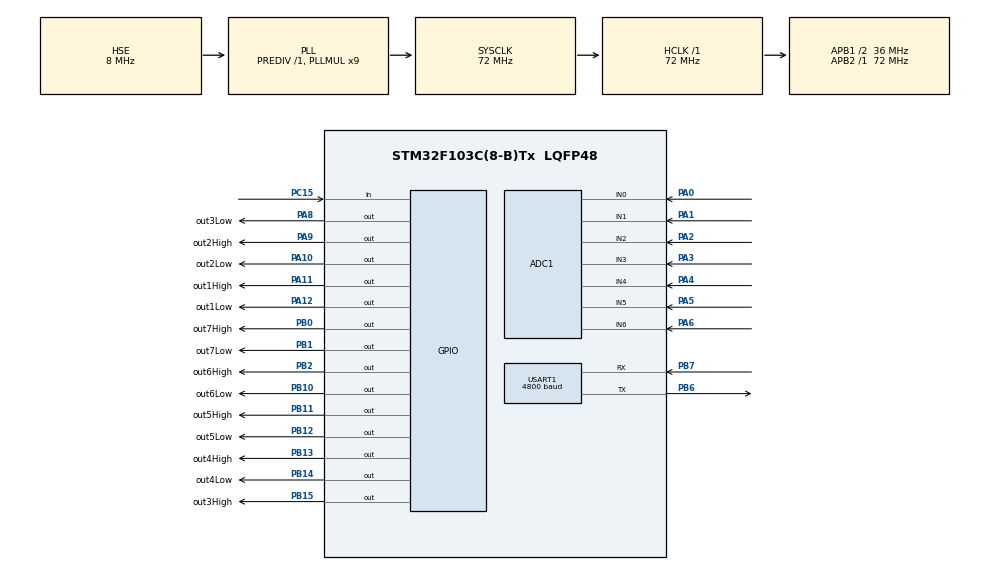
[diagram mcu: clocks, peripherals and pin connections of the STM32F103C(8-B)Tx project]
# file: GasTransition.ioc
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ADC1.Channel-0\#ChannelRegularConversion=ADC_CHANNEL_0
ADC1.Channel-1\#ChannelRegularConversion=ADC_CHANNEL_1
ADC1.Channel-2\#ChannelRegularConversion=ADC_CHANNEL_2
ADC1.Channel-3\#ChannelRegularConversion=ADC_CHANNEL_3
ADC1.Channel-4\#ChannelRegularConversion=ADC_CHANNEL_4
ADC1.Channel-5\#ChannelRegularConversion=ADC_CHANNEL_5
ADC1.Channel-6\#ChannelRegularConversion=ADC_CHANNEL_6
ADC1.ContinuousConvMode=ENABLE
ADC1.NbrOfConversion=7
ADC1.NbrOfConversionFlag=1
ADC1.Rank-0\#ChannelRegularConversion=1
ADC1.Rank-1\#ChannelRegularConversion=2
ADC1.Rank-2\#ChannelRegularConversion=3
ADC1.Rank-3\#ChannelRegularConversion=4
ADC1.Rank-4\#ChannelRegularConversion=5
ADC1.Rank-5\#ChannelRegularConversion=6
ADC1.Rank-6\#ChannelRegularConversion=7
ADC1.SamplingTime-0\#ChannelRegularConversion=ADC_SAMPLETIME_55CYCLES_5
ADC1.SamplingTime-1\#ChannelRegularConversion=ADC_SAMPLETIME_55CYCLES_5
ADC1.SamplingTime-2\#ChannelRegularConversion=ADC_SAMPLETIME_55CYCLES_5
ADC1.SamplingTime-3\#ChannelRegularConversion=ADC_SAMPLETIME_55CYCLES_5
ADC1.SamplingTime-4\#ChannelRegularConversion=ADC_SAMPLETIME_55CYCLES_5
ADC1.SamplingTime-5\#ChannelRegularConversion=ADC_SAMPLETIME_55CYCLES_5
ADC1.SamplingTime-6\#ChannelRegularConversion=ADC_SAMPLETIME_55CYCLES_5
ADC1.master=1
Dma.ADC1.0.Direction=DMA_PERIPH_TO_MEMORY
Dma.ADC1.0.Instance=DMA1_Channel1
Dma.ADC1.0.MemDataAlignment=DMA_MDATAALIGN_HALFWORD
Dma.ADC1.0.MemInc=DMA_MINC_ENABLE
Dma.ADC1.0.Mode=DMA_CIRCULAR
Dma.ADC1.0.PeriphDataAlignment=DMA_PDATAALIGN_HALFWORD
Dma.ADC1.0.PeriphInc=DMA_PINC_DISABLE
Dma.ADC1.0.Priority=DMA_PRIORITY_LOW
Dma.Request0=ADC1
Mcu.Family=STM32F1
Mcu.Name=STM32F103C(8-B)Tx
Mcu.Package=LQFP48
NVIC.DMA1_Channel1_IRQn=true\:0\:0\:false\:false\:true\:false\:true
NVIC.PriorityGroup=NVIC_PRIORITYGROUP_4
NVIC.TIM3_IRQn=true\:0\:0\:false\:false\:true\:true\:true
PA0-WKUP.Signal=ADCx_IN0
PA1.Signal=ADCx_IN1
PA10.GPIO_Label=out2Low
PA10.Signal=GPIO_Output
PA11.GPIO_Label=out1High
PA11.Signal=GPIO_Output
PA12.GPIO_Label=out1Low
PA12.Signal=GPIO_Output
PA13.Mode=Serial_Wire
PA13.Signal=SYS_JTMS-SWDIO
PA14.Mode=Serial_Wire
PA14.Signal=SYS_JTCK-SWCLK
PA2.Signal=ADCx_IN2
PA3.Signal=ADCx_IN3
PA4.Signal=ADCx_IN4
PA5.Signal=ADCx_IN5
PA6.Signal=ADCx_IN6
PA8.GPIO_Label=out3Low
PA8.Signal=GPIO_Output
PA9.GPIO_Label=out2High
PA9.Signal=GPIO_Output
PB0.GPIO_Label=out7High
PB0.Signal=GPIO_Output
PB1.GPIO_Label=out7Low
PB1.Signal=GPIO_Output
PB10.GPIO_Label=out6Low
PB10.Signal=GPIO_Output
PB11.GPIO_Label=out5High
PB11.Signal=GPIO_Output
PB12.GPIO_Label=out5Low
PB12.Signal=GPIO_Output
PB13.GPIO_Label=out4High
PB13.Signal=GPIO_Output
PB14.GPIO_Label=out4Low
PB14.Signal=GPIO_Output
PB15.GPIO_Label=out3High
PB15.Signal=GPIO_Output
PB2.GPIO_Label=out6High
PB2.Signal=GPIO_Output
PB6.Mode=Asynchronous
PB6.Signal=USART1_TX
PB7.Mode=Asynchronous
PB7.Signal=USART1_RX
PC15-OSC32_OUT.Signal=GPIO_Input
PD0-OSC_IN.Mode=HSE-External-Oscillator
PD0-OSC_IN.Signal=RCC_OSC_IN
PD1-OSC_OUT.Mode=HSE-External-Oscillator
PD1-OSC_OUT.Signal=RCC_OSC_OUT
ProjectManager.HeapSize=0x200
ProjectManager.StackSize=0x400
ProjectManager.TargetToolchain=Other Toolchains (GPDSC)
RCC.ADCPresc=RCC_ADCPCLK2_DIV6
RCC.AHBFreq_Value=72000000
RCC.APB1CLKDivider=RCC_HCLK_DIV2
RCC.APB1Freq_Value=36000000
RCC.APB1TimFreq_Value=72000000
RCC.APB2Freq_Value=72000000
RCC.APB2TimFreq_Value=72000000
RCC.HCLKFreq_Value=72000000
RCC.PLLMUL=RCC_PLL_MUL9
RCC.PLLSourceVirtual=RCC_PLLSOURCE_HSE
RCC.SYSCLKFreq_VALUE=72000000
RCC.SYSCLKSource=RCC_SYSCLKSOURCE_PLLCLK
RCC.USBFreq_Value=72000000
SH.ADCx_IN0.0=ADC1_IN0,IN0
SH.ADCx_IN1.0=ADC1_IN1,IN1
SH.ADCx_IN2.0=ADC1_IN2,IN2
SH.ADCx_IN3.0=ADC1_IN3,IN3
SH.ADCx_IN4.0=ADC1_IN4,IN4
SH.ADCx_IN5.0=ADC1_IN5,IN5
SH.ADCx_IN6.0=ADC1_IN6,IN6
TIM3.Period=10000-1
TIM3.Prescaler=72-1
USART1.BaudRate=4800
USART1.VirtualMode=VM_ASYNC
VP_IWDG_VS_IWDG.Mode=IWDG_Activate
VP_TIM3_VS_ClockSourceINT.Mode=Internal
board=gasAD

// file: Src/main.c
/* USER CODE BEGIN Header */
/**
  ******************************************************************************
  * @file           : main.c
  * @brief          : Main program body
  ******************************************************************************
  * @attention
  *
  * <h2><center>&copy; Copyright (c) 2019 STMicroelectronics.
  * All rights reserved.</center></h2>
  *
  * This software component is licensed by ST under BSD 3-Clause license,
  * the "License"; You may not use this file except in compliance with the
  * License. You may obtain a copy of the License at:
  *                        opensource.org/licenses/BSD-3-Clause
  *
  ******************************************************************************
  */
/* USER CODE END Header */

#include "main.h"
#include "adc.h"
#include "dma.h"
#include "iwdg.h"
#include "tim.h"
#include "usart.h"
#include "gpio.h"

/* USER CODE BEGIN Includes */

#define GAS_START_LIMIT 100
#define GAS_LOW_LIMIT 300
#define GAS_HIGH_LIMIT 900

/* USER CODE END Includes */

void SystemClock_Config(void);

/* USER CODE BEGIN 0 */

volatile uint8_t messageSendFlag;

uint16_t LocalArray[10];

volatile uint16_t ADC_ConvertedValue[10];
uint32_t ADC_Average[10];

static uint16_t GetCRC16(uint8_t *arr_buff, uint8_t len) {  //CRC校验程序
	uint16_t crc = 0xFFFF;
	uint8_t i, j;
	for (j = 0; j < len; j++) {
		crc = crc ^ *arr_buff++;
		for (i = 0; i < 8; i++) {
			if ((crc & 0x0001) > 0) {
				crc = crc >> 1;
				crc = crc ^ 0xa001;
			}
			else
				crc = crc >> 1;
		}
	}
	return (crc);
}

static void gasCollect() {

	uint16_t gasTemp[7];

	for (uint8_t i = 0; i < 100; i++)
	{
		for (uint8_t j = 0; j < 7; j++) {
			ADC_Average[j] += ADC_ConvertedValue[j];
		}
	}

	for (uint8_t i = 0; i < 7; i++)
	{
		gasTemp[i] = ADC_Average[i] * 10 / 4095;
		ADC_Average[i] = 0;
	}

	if ((gasTemp[0] >= GAS_START_LIMIT) && (gasTemp[0] <= GAS_LOW_LIMIT))		//氧气欠压
	{
		HAL_GPIO_WritePin(out1Low_GPIO_Port, out1Low_Pin, GPIO_PIN_SET);
		HAL_GPIO_WritePin(out1High_GPIO_Port, out1High_Pin, GPIO_PIN_RESET);

		SET_BIT(LocalArray[0], 1 << 0);
		CLEAR_BIT(LocalArray[0], 1 << 8);
	}
	else if (gasTemp[0] >= GAS_HIGH_LIMIT)							//氧气超压
	{
		HAL_GPIO_WritePin(out1Low_GPIO_Port, out1Low_Pin, GPIO_PIN_RESET);
		HAL_GPIO_WritePin(out1High_GPIO_Port, out1High_Pin, GPIO_PIN_SET);

		SET_BIT(LocalArray[0], 1 << 8);
		CLEAR_BIT(LocalArray[0], 1 << 0);
	}
	else												//氧气正常
	{
		HAL_GPIO_WritePin(out1Low_GPIO_Port, out1Low_Pin, GPIO_PIN_RESET);
		HAL_GPIO_WritePin(out1High_GPIO_Port, out1High_Pin, GPIO_PIN_RESET);

		CLEAR_BIT(LocalArray[0], 1 << 0);
		CLEAR_BIT(LocalArray[0], 1 << 8);
	}

	if ((gasTemp[1] >= GAS_START_LIMIT) && (gasTemp[1] <= GAS_LOW_LIMIT))		//氩气欠压
	{
		HAL_GPIO_WritePin(out2Low_GPIO_Port, out2Low_Pin, GPIO_PIN_SET);
		HAL_GPIO_WritePin(out2High_GPIO_Port, out2High_Pin, GPIO_PIN_RESET);

		SET_BIT(LocalArray[0], 1 << 1);
		CLEAR_BIT(LocalArray[0], 1 << 9);
	}
	else if (gasTemp[1] >= GAS_HIGH_LIMIT)							//氩气超压
	{
		HAL_GPIO_WritePin(out2Low_GPIO_Port, out2Low_Pin, GPIO_PIN_RESET);
		HAL_GPIO_WritePin(out2High_GPIO_Port, out2High_Pin, GPIO_PIN_SET);
		SET_BIT(LocalArray[0], 1 << 9);
		CLEAR_BIT(LocalArray[0], 1 << 1);
	}
	else												//氩气正常
	{
		HAL_GPIO_WritePin(out2Low_GPIO_Port, out2Low_Pin, GPIO_PIN_RESET);
		HAL_GPIO_WritePin(out2High_GPIO_Port, out2High_Pin, GPIO_PIN_RESET);
		CLEAR_BIT(LocalArray[0], 1 << 1);
		CLEAR_BIT(LocalArray[0], 1 << 9);
	}

	if ((gasTemp[2] >= GAS_START_LIMIT) && (gasTemp[2] <= GAS_LOW_LIMIT))		//笑气欠压
	{
		HAL_GPIO_WritePin(out3Low_GPIO_Port, out3Low_Pin, GPIO_PIN_SET);
		HAL_GPIO_WritePin(out3High_GPIO_Port, out3High_Pin, GPIO_PIN_RESET);
		SET_BIT(LocalArray[0], 1 << 2);
		CLEAR_BIT(LocalArray[0], 1 << 10);
	}
	else if (gasTemp[2] >= GAS_HIGH_LIMIT)							//笑气超压
	{
		HAL_GPIO_WritePin(out3Low_GPIO_Port, out3Low_Pin, GPIO_PIN_RESET);
		HAL_GPIO_WritePin(out3High_GPIO_Port, out3High_Pin, GPIO_PIN_SET);
		SET_BIT(LocalArray[0], 1 << 10);
		CLEAR_BIT(LocalArray[0], 1 << 2);
	}
	else												//笑气正常
	{
		HAL_GPIO_WritePin(out3Low_GPIO_Port, out3Low_Pin, GPIO_PIN_RESET);
		HAL_GPIO_WritePin(out3High_GPIO_Port, out3High_Pin, GPIO_PIN_RESET);
		CLEAR_BIT(LocalArray[0], 1 << 2);
		CLEAR_BIT(LocalArray[0], 1 << 10);
	}

	if ((gasTemp[3] >= GAS_START_LIMIT) && (gasTemp[3] <= GAS_LOW_LIMIT))		//氮气欠压
	{
		HAL_GPIO_WritePin(out4Low_GPIO_Port, out4Low_Pin, GPIO_PIN_SET);
		HAL_GPIO_WritePin(out4High_GPIO_Port, out4High_Pin, GPIO_PIN_RESET);
		SET_BIT(LocalArray[0], 1 << 3);
		CLEAR_BIT(LocalArray[0], 1 << 11);
	}
	else if (gasTemp[3] >= GAS_HIGH_LIMIT+50)							//氮气超压
	{
		HAL_GPIO_WritePin(out4Low_GPIO_Port, out4Low_Pin, GPIO_PIN_RESET);
		HAL_GPIO_WritePin(out4High_GPIO_Port, out4High_Pin, GPIO_PIN_SET);
		SET_BIT(LocalArray[0], 1 << 11);
		CLEAR_BIT(LocalArray[0], 1 << 3);
	}
	else												//氮气正常
	{
		HAL_GPIO_WritePin(out4Low_GPIO_Port, out4Low_Pin, GPIO_PIN_RESET);
		HAL_GPIO_WritePin(out4High_GPIO_Port, out4High_Pin, GPIO_PIN_RESET);
		CLEAR_BIT(LocalArray[0], 1 << 3);
		CLEAR_BIT(LocalArray[0], 1 << 11);
	}

	if ((gasTemp[4] >= GAS_START_LIMIT) && (gasTemp[4] <= GAS_LOW_LIMIT-50))		//负压吸引欠压
	{
		HAL_GPIO_WritePin(out5Low_GPIO_Port, out5Low_Pin, GPIO_PIN_SET);
		HAL_GPIO_WritePin(out5High_GPIO_Port, out5High_Pin, GPIO_PIN_RESET);
		SET_BIT(LocalArray[0], 1 << 4);
		CLEAR_BIT(LocalArray[0], 1 << 12);
	}
	else if (gasTemp[4] >= GAS_HIGH_LIMIT)							//负压吸引超压
	{
		HAL_GPIO_WritePin(out5Low_GPIO_Port, out5Low_Pin, GPIO_PIN_RESET);
		HAL_GPIO_WritePin(out5High_GPIO_Port, out5High_Pin, GPIO_PIN_SET);
		SET_BIT(LocalArray[0], 1 << 12);
		CLEAR_BIT(LocalArray[0], 1 << 4);
	}
	else												//负压吸引正常
	{
		HAL_GPIO_WritePin(out5Low_GPIO_Port, out5Low_Pin, GPIO_PIN_RESET);
		HAL_GPIO_WritePin(out5High_GPIO_Port, out5High_Pin, GPIO_PIN_RESET);
		CLEAR_BIT(LocalArray[0], 1 << 4);
		CLEAR_BIT(LocalArray[0], 1 << 12);
	}

	if ((gasTemp[5] >= GAS_START_LIMIT) && (gasTemp[5] <= GAS_LOW_LIMIT))		//压缩空气欠压
	{
		HAL_GPIO_WritePin(out6Low_GPIO_Port, out6Low_Pin, GPIO_PIN_SET);
		HAL_GPIO_WritePin(out6High_GPIO_Port, out6High_Pin, GPIO_PIN_RESET);
		SET_BIT(LocalArray[0], 1 << 5);
		CLEAR_BIT(LocalArray[0], 1 << 13);
	}
	else if (gasTemp[5] >= GAS_HIGH_LIMIT)							//压缩空气超压
	{
		HAL_GPIO_WritePin(out6Low_GPIO_Port, out6Low_Pin, GPIO_PIN_RESET);
		HAL_GPIO_WritePin(out6High_GPIO_Port, out6High_Pin, GPIO_PIN_SET);
		SET_BIT(LocalArray[0], 1 << 13);
		CLEAR_BIT(LocalArray[0], 1 << 5);
	}
	else												//压缩空气正常
	{
		HAL_GPIO_WritePin(out6Low_GPIO_Port, out6Low_Pin, GPIO_PIN_RESET);
		HAL_GPIO_WritePin(out6High_GPIO_Port, out6High_Pin, GPIO_PIN_RESET);
		CLEAR_BIT(LocalArray[0], 1 << 5);
		CLEAR_BIT(LocalArray[0], 1 << 13);
	}

	if ((gasTemp[6] >= GAS_START_LIMIT) && (gasTemp[6] <= GAS_LOW_LIMIT))		//二氧化碳欠压
	{
		HAL_GPIO_WritePin(out7Low_GPIO_Port, out7Low_Pin, GPIO_PIN_SET);
		HAL_GPIO_WritePin(out7High_GPIO_Port, out7High_Pin, GPIO_PIN_RESET);
		SET_BIT(LocalArray[0], 1 << 6);
		CLEAR_BIT(LocalArray[0], 1 << 14);
	}
	else if (gasTemp[6] >= GAS_HIGH_LIMIT)							//二氧化碳超压
	{
		HAL_GPIO_WritePin(out7Low_GPIO_Port, out7Low_Pin, GPIO_PIN_RESET);
		HAL_GPIO_WritePin(out7High_GPIO_Port, out7High_Pin, GPIO_PIN_SET);
		SET_BIT(LocalArray[0], 1 << 14);
		CLEAR_BIT(LocalArray[0], 1 << 6);
	}
	else												//二氧化碳正常
	{
		HAL_GPIO_WritePin(out7Low_GPIO_Port, out7Low_Pin, GPIO_PIN_RESET);
		HAL_GPIO_WritePin(out7High_GPIO_Port, out7High_Pin, GPIO_PIN_RESET);
		CLEAR_BIT(LocalArray[0], 1 << 6);
		CLEAR_BIT(LocalArray[0], 1 << 14);
	}
}

static void sendDataMaster16() {

	uint16_t temp;
	uint8_t i;
	uint8_t txBuf[32];
	uint8_t txCount;

	txBuf[0] = 1;
	txBuf[1] = 0x10;
	txBuf[2] = 0x00;         //数据的起始地址；
	txBuf[3] = 0x00;
	txBuf[4] = 0x00;         //数据的个数；
	txBuf[5] = 0x08;
	txBuf[6] = 0x10;         //数据的字节数；
	for (i = 0; i<txBuf[5]; i++) {
		txBuf[7 + 2 * i] = (uint8_t)(LocalArray[i + txBuf[3]] >> 8);
		txBuf[8 + 2 * i] = (uint8_t)(LocalArray[i + txBuf[3]] & 0xff);
	}
	temp = GetCRC16(txBuf, 2 * txBuf[5] + 7);
	txBuf[7 + 2 * txBuf[5]] = (uint8_t)(temp & 0xff);
	txBuf[8 + 2 * txBuf[5]] = (uint8_t)((temp >> 8) & 0xff);
	txCount = 9 + 2 * txBuf[5];
	HAL_UART_Transmit(&huart1, txBuf, txCount, 0xffff);
}

/* USER CODE END 0 */

int main(void)
{

  /* MCU Configuration--------------------------------------------------------*/

  /* Reset of all peripherals, Initializes the Flash interface and the Systick. */
  HAL_Init();

  /* Configure the system clock */
  SystemClock_Config();

  /* Initialize all configured peripherals */
  MX_GPIO_Init();
  MX_DMA_Init();
  MX_ADC1_Init();
  MX_USART1_UART_Init();
  MX_TIM3_Init();
  MX_IWDG_Init();
  /* USER CODE BEGIN 2 */

  HAL_ADCEx_Calibration_Start(&hadc1);
  HAL_ADC_Start_DMA(&hadc1, (uint32_t *)ADC_ConvertedValue, 7);
  HAL_TIM_Base_Start_IT(&htim3);
  /* USER CODE END 2 */

  /* Infinite loop */
  while (1)
  {

    /* USER CODE BEGIN 3 */
	  gasCollect();

	  if (messageSendFlag)
	  {
		  messageSendFlag = 0;
		  sendDataMaster16();
	  }
	  HAL_IWDG_Refresh(&hiwdg);
  }
  /* USER CODE END 3 */
}

void SystemClock_Config(void)
{
  RCC_OscInitTypeDef RCC_OscInitStruct = {0};
  RCC_ClkInitTypeDef RCC_ClkInitStruct = {0};
  RCC_PeriphCLKInitTypeDef PeriphClkInit = {0};

  /** Initializes the CPU, AHB and APB busses clocks
  */
  RCC_OscInitStruct.OscillatorType = RCC_OSCILLATORTYPE_LSI|RCC_OSCILLATORTYPE_HSE;
  RCC_OscInitStruct.HSEState = RCC_HSE_ON;
  RCC_OscInitStruct.HSEPredivValue = RCC_HSE_PREDIV_DIV1;
  RCC_OscInitStruct.HSIState = RCC_HSI_ON;
  RCC_OscInitStruct.LSIState = RCC_LSI_ON;
  RCC_OscInitStruct.PLL.PLLState = RCC_PLL_ON;
  RCC_OscInitStruct.PLL.PLLSource = RCC_PLLSOURCE_HSE;
  RCC_OscInitStruct.PLL.PLLMUL = RCC_PLL_MUL9;
  if (HAL_RCC_OscConfig(&RCC_OscInitStruct) != HAL_OK)
  {
    Error_Handler();
  }
  /** Initializes the CPU, AHB and APB busses clocks
  */
  RCC_ClkInitStruct.ClockType = RCC_CLOCKTYPE_HCLK|RCC_CLOCKTYPE_SYSCLK
                              |RCC_CLOCKTYPE_PCLK1|RCC_CLOCKTYPE_PCLK2;
  RCC_ClkInitStruct.SYSCLKSource = RCC_SYSCLKSOURCE_PLLCLK;
  RCC_ClkInitStruct.AHBCLKDivider = RCC_SYSCLK_DIV1;
  RCC_ClkInitStruct.APB1CLKDivider = RCC_HCLK_DIV2;
  RCC_ClkInitStruct.APB2CLKDivider = RCC_HCLK_DIV1;

  if (HAL_RCC_ClockConfig(&RCC_ClkInitStruct, FLASH_LATENCY_2) != HAL_OK)
  {
    Error_Handler();
  }
  PeriphClkInit.PeriphClockSelection = RCC_PERIPHCLK_ADC;
  PeriphClkInit.AdcClockSelection = RCC_ADCPCLK2_DIV6;
  if (HAL_RCCEx_PeriphCLKConfig(&PeriphClkInit) != HAL_OK)
  {
    Error_Handler();
  }
}

/* USER CODE BEGIN 4 */

void HAL_TIM_PeriodElapsedCallback(TIM_HandleTypeDef *htim)
{
	if (htim->Instance == TIM3) {

			messageSendFlag = 1;
	}
}

/* USER CODE END 4 */

void Error_Handler(void)
{
}

/************************ (C) COPYRIGHT STMicroelectronics *****END OF FILE****/
